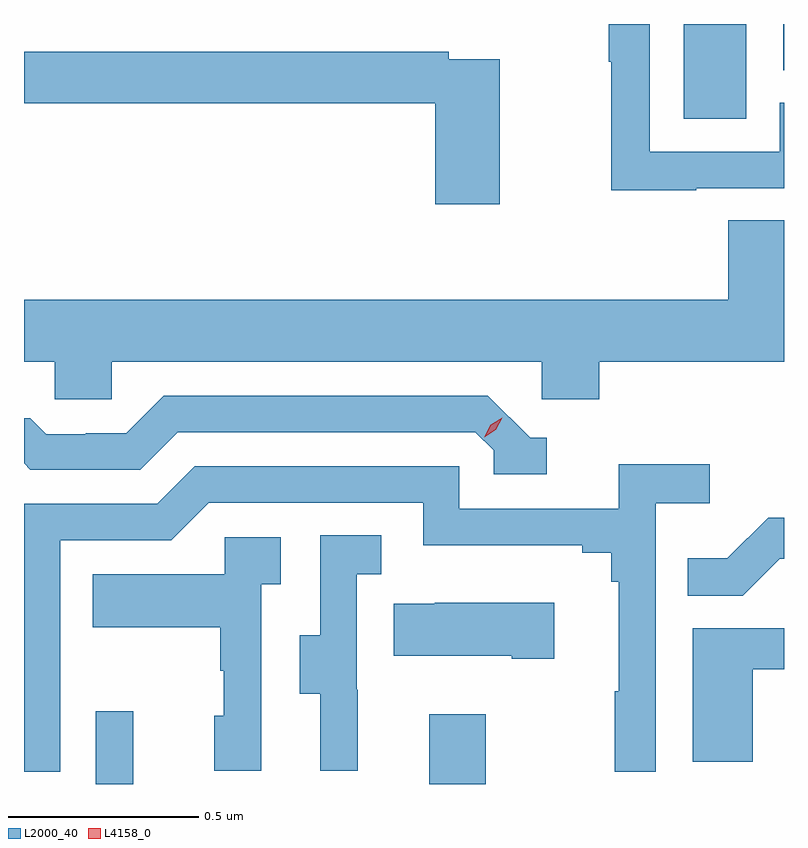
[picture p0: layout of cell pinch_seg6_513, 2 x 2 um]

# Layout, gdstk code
import gdstk
lib = gdstk.Library(unit=1e-6, precision=1e-09)
def R(c, l, rs):  # rectangles x0, y0, x1, y1
    for r in rs: c.add(gdstk.rectangle(r[:2], r[2:], *l))
def P(c, l, *ps):  # polygons
    for p in ps: c.add(gdstk.Polygon(p, *l))
L2000_40 = (2000, 40)
L4158_0 = (4158, 0)

pinch_seg6_513 = lib.new_cell('pinch_seg6_513')
R(pinch_seg6_513, L2000_40, [(841.983,926.245,842.081,926.437), (842.861,926.245,843.009,926.428), (843.53,927.996,843.694,928.245), (843.792,928.123,843.794,928.245)])
P(pinch_seg6_513, L2000_40, [(843.563,927.813),(843.794,927.813),(843.794,928.038),(843.783,928.038),(843.783,927.909),(843.441,927.909),(843.441,928.245),(843.333,928.245),(843.333,928.146),(843.34,928.146),(843.34,927.808),(843.563,927.808)],
  [(843.046,928.152),(842.912,928.152),(842.912,928.172),(841.794,928.172),(841.794,928.036),(842.876,928.036),(842.876,927.771),(843.046,927.771)],
  [(842.025,927.356),(843.156,927.356),(843.156,927.258),(843.308,927.258),(843.308,927.356),(843.794,927.356),(843.794,927.728),(843.647,927.728),(843.647,927.52),(841.794,927.52),(841.794,927.356),(841.875,927.356),(841.875,927.258),(842.025,927.258)],
  [(843.169,927.156),(843.126,927.156),(843.015,927.267),(842.162,927.267),(842.063,927.168),(841.956,927.168),(841.956,927.165),(841.853,927.165),(841.811,927.208),(841.794,927.208),(841.794,927.089),(841.811,927.072),(842.1,927.072),(842.199,927.171),(842.982,927.171),(843.03,927.123),(843.03,927.06),(843.169,927.06)],
  [(841.89,926.886),(842.181,926.886),(842.28,926.985),(842.844,926.985),(842.844,926.873),(843.263,926.873),(843.263,926.854),(843.34,926.854),(843.34,926.777),(843.359,926.777),(843.359,926.489),(843.348,926.489),(843.348,926.277),(843.456,926.277),(843.456,926.984),(843.598,926.984),(843.598,927.086),(843.359,927.086),(843.359,926.97),(842.94,926.97),(842.94,927.081),(842.243,927.081),(842.144,926.982),(841.794,926.982),(841.794,926.277),(841.89,926.277)],
  [(843.783,926.838),(843.794,926.838),(843.794,926.946),(843.752,926.946),(843.645,926.839),(843.541,926.839),(843.541,926.74),(843.685,926.74)],
  [(842.672,926.493),(842.67,926.493),(842.67,926.797),(842.734,926.797),(842.734,926.9),(842.574,926.9),(842.574,926.637),(842.519,926.637),(842.519,926.482),(842.573,926.482),(842.573,926.28),(842.672,926.28)],
  [(842.418,926.771),(842.47,926.771),(842.47,926.895),(842.322,926.895),(842.322,926.797),(841.975,926.797),(841.975,926.657),(842.31,926.657),(842.31,926.543),(842.32,926.543),(842.32,926.424),(842.294,926.424),(842.294,926.28),(842.418,926.28)],
  [(843.19,926.722),(842.875,926.722),(842.875,926.719),(842.767,926.719),(842.767,926.582),(843.077,926.582),(843.077,926.575),(843.19,926.575)],
  [(843.712,926.547),(843.794,926.547),(843.794,926.655),(843.554,926.655),(843.554,926.304),(843.712,926.304)])
P(pinch_seg6_513, L4158_0, [(843.005,927.158),(843.005,927.158),(843.022,927.19),(843.053,927.209),(843.053,927.209),(843.053,927.209),(843.036,927.177),(843.005,927.158)])

lib.write_gds('pinch_seg6_513.gds')
